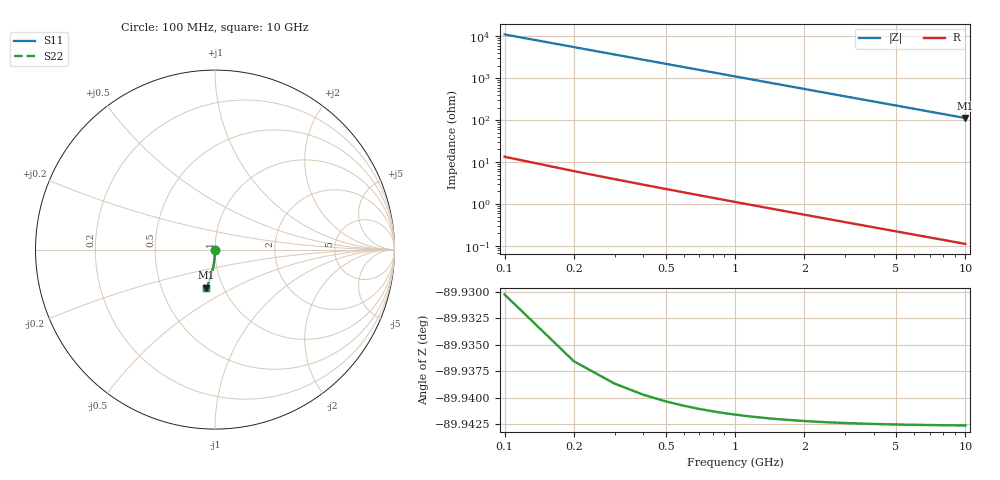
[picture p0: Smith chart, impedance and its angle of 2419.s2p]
# Hz S RI R 50.00
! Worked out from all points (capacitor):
!   100 points, 100 MHz to 10 GHz, reference 50 ohm
!   read as one part in shunt: C = 144 fF near 100 MHz
!   lowest |Z| = 112 ohm at 10 GHz (marker M1)
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1e8  -7.67e-06 -0.00227  1 -0.00227  1 -0.00227  -7.67e-06 -0.00227
2e8  -2.54e-05 -0.00453  1 -0.00454  1 -0.00454  -2.54e-05 -0.00453
3e8  -5.33e-05 -0.0068  0.9999 -0.00681  0.9999 -0.00681  -5.33e-05 -0.0068
4e8  -9.16e-05 -0.00906  0.9999 -0.00908  0.9999 -0.00908  -9.16e-05 -0.00906
5e8  -0.00014 -0.0113  0.9999 -0.0113  0.9999 -0.0113  -0.00014 -0.0113
6e8  -0.000199 -0.0136  0.9998 -0.0136  0.9998 -0.0136  -0.000199 -0.0136
7e8  -0.000268 -0.0158  0.9997 -0.0159  0.9997 -0.0159  -0.000268 -0.0158
8e8  -0.000347 -0.0181  0.9997 -0.0181  0.9997 -0.0181  -0.000347 -0.0181
9e8  -0.000436 -0.0204  0.9996 -0.0204  0.9996 -0.0204  -0.000436 -0.0204
1.1e9  -0.000644 -0.0249  0.9994 -0.0249  0.9994 -0.0249  -0.000644 -0.0249
1.4e9  -0.00103 -0.0316  0.999 -0.0316  0.999 -0.0316  -0.00103 -0.0316
1.8e9  -0.00169 -0.0405  0.9983 -0.0406  0.9983 -0.0406  -0.00169 -0.0405
2.1e9  -0.00229 -0.0472  0.9977 -0.0473  0.9977 -0.0473  -0.00229 -0.0472
2.5e9  -0.00322 -0.0561  0.9968 -0.0562  0.9968 -0.0562  -0.00322 -0.0561
2.9e9  -0.00431 -0.0649  0.9957 -0.065  0.9957 -0.065  -0.00431 -0.0649
3.4e9  -0.00588 -0.0759  0.9941 -0.076  0.9941 -0.076  -0.00588 -0.0759
4.2e9  -0.00889 -0.0933  0.9911 -0.0934  0.9911 -0.0934  -0.00889 -0.0933
5.1e9  -0.013 -0.1127  0.987 -0.1128  0.987 -0.1128  -0.013 -0.1127
5.9e9  -0.0172 -0.1296  0.9828 -0.1298  0.9828 -0.1298  -0.0172 -0.1296
6.7e9  -0.0221 -0.1463  0.9779 -0.1465  0.9779 -0.1465  -0.0221 -0.1463
8.4e9  -0.0341 -0.1809  0.9659 -0.1811  0.9659 -0.1811  -0.0341 -0.1809
1e10  -0.0475 -0.212  0.9525 -0.2123  0.9525 -0.2123  -0.0475 -0.212
